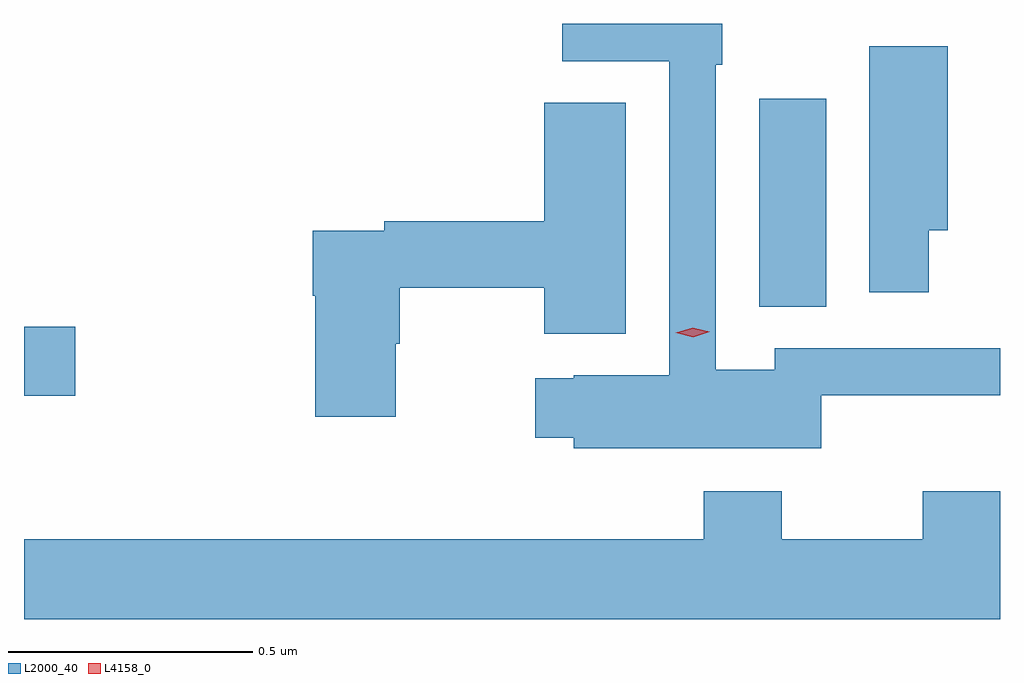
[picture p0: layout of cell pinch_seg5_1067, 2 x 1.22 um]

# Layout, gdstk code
import gdstk
lib = gdstk.Library(unit=1e-6, precision=1e-09)
def R(c, l, rs):  # rectangles x0, y0, x1, y1
    for r in rs: c.add(gdstk.rectangle(r[:2], r[2:], *l))
def P(c, l, *ps):  # polygons
    for p in ps: c.add(gdstk.Polygon(p, *l))
L2000_40 = (2000, 40)
L4158_0 = (4158, 0)

pinch_seg5_1067 = lib.new_cell('pinch_seg5_1067')
R(pinch_seg5_1067, L2000_40, [(641.818,838.57,641.923,838.712), (643.325,838.753,643.462,839.179)])
P(pinch_seg5_1067, L2000_40, [(643.452,838.571),(643.818,838.571),(643.818,838.668),(643.356,838.668),(643.356,838.624),(643.236,838.624),(643.236,839.249),(643.249,839.249),(643.249,839.333),(642.921,839.333),(642.921,839.256),(643.14,839.256),(643.14,838.612),(642.945,838.612),(642.945,838.606),(642.866,838.606),(642.866,838.484),(642.945,838.484),(642.945,838.463),(643.452,838.463)],
  [(643.672,838.91),(643.711,838.91),(643.711,839.287),(643.55,839.287),(643.55,838.782),(643.672,838.782)],
  [(642.58,838.677),(642.588,838.677),(642.588,838.792),(642.884,838.792),(642.884,838.697),(643.051,838.697),(643.051,839.171),(642.884,839.171),(642.884,838.928),(642.556,838.928),(642.556,838.908),(642.41,838.908),(642.41,838.775),(642.415,838.775),(642.415,838.527),(642.58,838.527)],
  [(643.818,838.375),(643.66,838.375),(643.66,838.276),(643.371,838.276),(643.371,838.375),(643.211,838.375),(643.211,838.276),(641.818,838.276),(641.818,838.112),(643.818,838.112)])
P(pinch_seg5_1067, L4158_0, [(643.189,838.69),(643.154,838.699),(643.153,838.699),(643.154,838.699),(643.188,838.71),(643.223,838.702),(643.223,838.701),(643.223,838.701)])

lib.write_gds('pinch_seg5_1067.gds')
